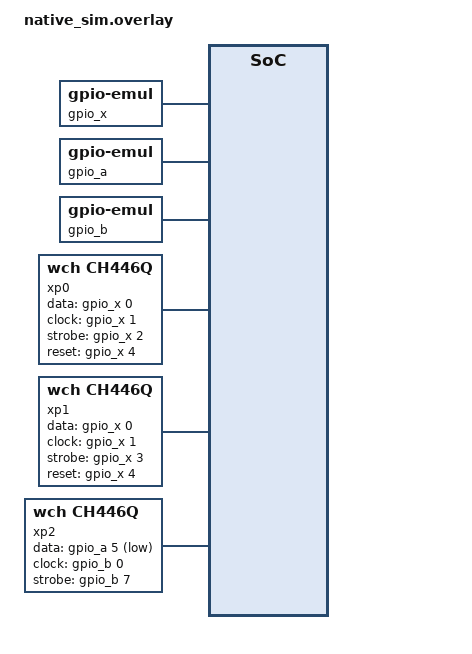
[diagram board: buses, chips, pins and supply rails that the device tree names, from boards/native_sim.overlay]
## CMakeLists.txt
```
# SPDX-FileCopyrightText: Copyright The Zephyr Project Contributors
# SPDX-License-Identifier: Apache-2.0

cmake_minimum_required(VERSION 3.20.0)

find_package(Zephyr REQUIRED HINTS $ENV{ZEPHYR_BASE})
project(ch446q)

target_sources(app PRIVATE src/main.c)
```

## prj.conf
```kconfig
# SPDX-FileCopyrightText: Copyright The Zephyr Project Contributors
# SPDX-License-Identifier: Apache-2.0

CONFIG_ZTEST=y
CONFIG_MUX=y
CONFIG_GPIO=y
CONFIG_GPIO_EMUL=y
```

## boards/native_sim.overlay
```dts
/*
 * SPDX-FileCopyrightText: Copyright The Zephyr Project Contributors
 * SPDX-License-Identifier: Apache-2.0
 *
 * CH446Q fixture on native_sim. xp0 and xp1 share their data, clock and
 * reset lines on one 8-pin emulated GPIO port (as on an I2C GPIO expander),
 * each with its own strobe line. xp2 has its data line on one port, inverted
 * on the way (active low), and its clock and strobe lines on another, with
 * no reset line.
 */

#include <zephyr/dt-bindings/gpio/gpio.h>

/ {
	gpio_x: gpio-x {
		compatible = "zephyr,gpio-emul";
		gpio-controller;
		#gpio-cells = <2>;
		ngpios = <8>;
		rising-edge;
		falling-edge;
		high-level;
		low-level;
	};

	gpio_a: gpio-a {
		compatible = "zephyr,gpio-emul";
		gpio-controller;
		#gpio-cells = <2>;
		ngpios = <8>;
		rising-edge;
		falling-edge;
		high-level;
		low-level;
	};

	gpio_b: gpio-b {
		compatible = "zephyr,gpio-emul";
		gpio-controller;
		#gpio-cells = <2>;
		ngpios = <8>;
		rising-edge;
		falling-edge;
		high-level;
		low-level;
	};

	xp0: crosspoint-0 {
		compatible = "wch,ch446q";
		data-gpios = <&gpio_x 0 GPIO_ACTIVE_HIGH>;
		clock-gpios = <&gpio_x 1 GPIO_ACTIVE_HIGH>;
		strobe-gpios = <&gpio_x 2 GPIO_ACTIVE_HIGH>;
		reset-gpios = <&gpio_x 4 GPIO_ACTIVE_HIGH>;
		#mux-control-cells = <1>;
		#mux-state-cells = <2>;
	};

	xp1: crosspoint-1 {
		compatible = "wch,ch446q";
		data-gpios = <&gpio_x 0 GPIO_ACTIVE_HIGH>;
		clock-gpios = <&gpio_x 1 GPIO_ACTIVE_HIGH>;
		strobe-gpios = <&gpio_x 3 GPIO_ACTIVE_HIGH>;
		reset-gpios = <&gpio_x 4 GPIO_ACTIVE_HIGH>;
		#mux-control-cells = <1>;
		#mux-state-cells = <2>;
	};

	xp2: crosspoint-2 {
		compatible = "wch,ch446q";
		data-gpios = <&gpio_a 5 GPIO_ACTIVE_LOW>;
		clock-gpios = <&gpio_b 0 GPIO_ACTIVE_HIGH>;
		strobe-gpios = <&gpio_b 7 GPIO_ACTIVE_HIGH>;
		#mux-control-cells = <1>;
		#mux-state-cells = <2>;
	};

	mux_consumer: mux-consumer {
		compatible = "vnd,mux-consumer-test";
		mux-controls = <&xp0 15>, <&xp0 7>, <&xp1 15>;
		mux-control-names = "line-a", "line-b", "line-c";
		mux-states = <&xp0 15 0x09>;
	};
};
```

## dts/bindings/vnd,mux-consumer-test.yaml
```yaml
# SPDX-FileCopyrightText: Copyright The Zephyr Project Contributors
# SPDX-License-Identifier: Apache-2.0

description: |
  Consumer fixture for the CH446Q mux backend test. Carries mux-controls
  and mux-states pointing at the CH446Q controllers under test.

compatible: "vnd,mux-consumer-test"

include: [base.yaml, mux-consumer.yaml]
```

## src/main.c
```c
/*
 * SPDX-FileCopyrightText: Copyright The Zephyr Project Contributors
 * SPDX-License-Identifier: Apache-2.0
 *
 * CH446Q mux backend test. Each chip is emulated from the GPIO lines it sees
 * on gpio_emul, as the datasheet describes the serial address mode: address
 * bits shifted on the rising edges of CK, AY2 first, the switch state on DAT
 * latched by the falling edge of STB, RST high opening every switch. The
 * emulation also counts what the datasheet forbids (DAT changing with a
 * clock edge or while STB is high), the port writes and the reset pulses.
 */

#include <string.h>

#include <zephyr/drivers/gpio.h>
#include <zephyr/drivers/gpio/gpio_emul.h>
#include <zephyr/drivers/mux.h>
#include <zephyr/kernel.h>
#include <zephyr/ztest.h>

#define NUM_X 16
#define NUM_Y 8

#define CHIP_LINES(node)                                                                           \
	.data = GPIO_DT_SPEC_GET(node, data_gpios), .clock = GPIO_DT_SPEC_GET(node, clock_gpios),  \
	.strobe = GPIO_DT_SPEC_GET(node, strobe_gpios),                                            \
	.reset = GPIO_DT_SPEC_GET_OR(node, reset_gpios, {0})

/* A chip as its pins see the lines (an inverted line arrives inverted back) */
struct chip {
	struct gpio_dt_spec data, clock, strobe, reset;
	bool data_was, clock_was, strobe_was, reset_was;
	bool data_strobe; /* DAT when STB rose */
	uint8_t shift;
	uint8_t y_mask[NUM_X];
	int faults;
	int resets;
};

static struct chip chips[] = {
	{CHIP_LINES(DT_NODELABEL(xp0))},
	{CHIP_LINES(DT_NODELABEL(xp1))},
	{CHIP_LINES(DT_NODELABEL(xp2))},
};
static struct chip *const xp0_chip = &chips[0];
static struct chip *const xp1_chip = &chips[1];
static struct chip *const xp2_chip = &chips[2];

static const struct device *const xp0 = DEVICE_DT_GET(DT_NODELABEL(xp0));
static const struct device *const xp1 = DEVICE_DT_GET(DT_NODELABEL(xp1));
static const struct device *const xp2 = DEVICE_DT_GET(DT_NODELABEL(xp2));

static const struct device *const ports[] = {
	DEVICE_DT_GET(DT_NODELABEL(gpio_x)),
	DEVICE_DT_GET(DT_NODELABEL(gpio_a)),
	DEVICE_DT_GET(DT_NODELABEL(gpio_b)),
};
static struct gpio_callback cbs[ARRAY_SIZE(ports)];
static int writes[ARRAY_SIZE(ports)];

#define PINS DT_NODELABEL(mux_consumer)
MUX_CONTROL_DT_SPEC_DEFINE_BY_NAME(PINS, line_a);
MUX_CONTROL_DT_SPEC_DEFINE_BY_NAME(PINS, line_b);
MUX_CONTROL_DT_SPEC_DEFINE_BY_NAME(PINS, line_c);
MUX_STATE_DT_SPEC_DEFINE(PINS);

static bool level(const struct gpio_dt_spec *spec)
{
	return (gpio_emul_output_get(spec->port, spec->pin) > 0) !=
	       ((spec->dt_flags & GPIO_ACTIVE_LOW) != 0);
}

static void chip_update(struct chip *c)
{
	bool data = level(&c->data), clock = level(&c->clock), strobe = level(&c->strobe);
	bool reset = c->reset.port != NULL && level(&c->reset);

	if (reset) {
		c->resets += !c->reset_was;
		memset(c->y_mask, 0, sizeof(c->y_mask));
	} else {
		if (clock && !c->clock_was) {
			c->faults += data != c->data_was || c->strobe_was;
			c->shift = ((c->shift << 1) | data) & 0x7F;
		}
		if (strobe && !c->strobe_was) {
			/* DAT set up before STB rises (TDS), not with it */
			c->faults += data != c->data_was;
			c->data_strobe = data;
		} else if (strobe && data != c->data_strobe) {
			c->faults++; /* DAT must hold until STB falls */
		}
		if (!strobe && c->strobe_was) {
			/* Address y * 16 + x */
			WRITE_BIT(c->y_mask[c->shift & 0x0F], c->shift >> 4, c->data_strobe);
		}
	}
	c->data_was = data;
	c->clock_was = clock;
	c->strobe_was = strobe;
	c->reset_was = reset;
}

static void on_write(const struct device *port, struct gpio_callback *cb, gpio_port_pins_t pins)
{
	ARG_UNUSED(cb);
	ARG_UNUSED(pins);

	for (size_t i = 0; i < ARRAY_SIZE(ports); i++) {
		writes[i] += ports[i] == port;
	}
	ARRAY_FOR_EACH_PTR(chips, c) {
		chip_update(c);
	}
}

static void *setup(void)
{
	zassert_true(device_is_ready(xp0) && device_is_ready(xp1) && device_is_ready(xp2));
	for (size_t i = 0; i < ARRAY_SIZE(ports); i++) {
		gpio_init_callback(&cbs[i], on_write, BIT_MASK(8));
		zassert_ok(gpio_add_callback(ports[i], &cbs[i]));
	}
	return NULL;
}

/* X's control line, built at run time */
#define X_CONTROL(name, x)                                                                         \
	const uint32_t name##_cell = (x);                                                          \
	const struct mux_control name = {.cells = &name##_cell, .len = 1}

/* The chip and the driver agree on every X; nothing forbidden was seen */
static void check_chip(const struct device *dev, const struct chip *c)
{
	uint32_t state;

	for (uint8_t x = 0; x < NUM_X; x++) {
		X_CONTROL(ctl, x);

		zassert_ok(mux_state_get(dev, &ctl, &state));
		zassert_equal(state, c->y_mask[x], "%s X%u: driver 0x%02x, chip 0x%02x", dev->name,
			      x, state, c->y_mask[x]);
	}
	zassert_equal(c->faults, 0, "%s: %d timing faults", dev->name, c->faults);
}

ZTEST(ch446q, test_1_set)
{
	const struct mux_control *line_a = MUX_CONTROL_DT_GET_BY_NAME(PINS, line_a);
	X_CONTROL(x4, 4);
	uint32_t state;
	int before;

	/* The datasheet's example: Y2-X4, address 24H */
	zassert_ok(mux_control_set(xp0, &x4, BIT(2)));
	zassert_equal(xp0_chip->y_mask[4], BIT(2));
	zassert_equal(xp1_chip->y_mask[4], 0, "xp1 saw the address but not its strobe");

	/*
	 * One switch more: 17 port writes (gpio_emul reports a port write when it
	 * changes a line; after a switch CK is high, so each of them does)
	 */
	before = writes[0];
	zassert_ok(mux_control_set(xp0, &x4, BIT(2) | BIT(7)));
	zassert_equal(writes[0] - before, 17, "%d port writes for one switch", writes[0] - before);
	zassert_ok(mux_state_get(xp0, &x4, &state));
	zassert_equal(state, BIT(2) | BIT(7));

	/* The same mask again: nothing to write */
	before = writes[0];
	zassert_ok(mux_control_set(xp0, &x4, BIT(2) | BIT(7)));
	zassert_equal(writes[0], before);

	/* By name, from the devicetree: line-a (entry 0) is xp0's X15 */
	zassert_equal_ptr(MUX_CONTROL_DT_DEV_GET_BY_IDX(PINS, 0), xp0);
	zassert_ok(mux_control_set(MUX_CONTROL_DT_DEV_GET_BY_IDX(PINS, 0), line_a, 0x81));
	zassert_equal(xp0_chip->y_mask[15], 0x81);
	check_chip(xp0, xp0_chip);
	check_chip(xp1, xp1_chip);
}

ZTEST(ch446q, test_2_disconnect)
{
	const struct mux_control *line_b = MUX_CONTROL_DT_GET_BY_NAME(PINS, line_b);
	const struct mux_control *line_c = MUX_CONTROL_DT_GET_BY_NAME(PINS, line_c);
	int resets = xp0_chip->resets;
	int before;

	zassert_ok(mux_control_set(xp0, line_b, 0xFF));
	zassert_ok(mux_control_set(xp1, line_c, 0x3C));

	/* X7 of xp0 opens, switch by switch; xp1 keeps its switches, RST never moves */
	before = writes[0];
	zassert_ok(mux_control_disconnect(xp0, line_b));
	zassert_equal(writes[0] - before, 8 * 17);
	zassert_equal(xp0_chip->y_mask[7], 0);
	zassert_equal(xp1_chip->y_mask[15], 0x3C);
	zassert_equal(xp0_chip->resets, resets, "disconnect must not pulse the shared reset");
	check_chip(xp0, xp0_chip);
	check_chip(xp1, xp1_chip);
}

ZTEST(ch446q, test_3_every_switch)
{
	for (uint8_t x = 0; x < NUM_X; x++) {
		X_CONTROL(ctl, x);

		zassert_ok(mux_control_set(xp1, &ctl, 0xFF));
	}
	for (uint8_t x = 0; x < NUM_X; x++) {
		zassert_equal(xp1_chip->y_mask[x], 0xFF, "X%u: 0x%02x", x, xp1_chip->y_mask[x]);
	}
	/* A different mask on each X: every address and data bit both ways */
	for (uint8_t x = 0; x < NUM_X; x++) {
		X_CONTROL(ctl, x);

		zassert_ok(mux_control_set(xp1, &ctl, (x * 37 + 11) & 0xFF));
	}
	check_chip(xp1, xp1_chip);
}

ZTEST(ch446q, test_4_state_from_devicetree)
{
	const struct mux_state *st = MUX_STATE_DT_GET(PINS);

	zassert_equal(st->state, 0x09);
	zassert_ok(mux_state_apply(MUX_STATE_DT_DEV_GET(PINS), st));
	zassert_equal(xp0_chip->y_mask[15], 0x09);
	check_chip(xp0, xp0_chip);
}

ZTEST(ch446q, test_5_lines_apart)
{
	X_CONTROL(x15, 15);
	X_CONTROL(x0, 0);
	int before_a = writes[1], before_b = writes[2];

	/* The data line on one port, inverted on the way; clock and strobe on another */
	zassert_ok(mux_control_set(xp2, &x15, BIT(7)));
	zassert_equal(xp2_chip->y_mask[15], BIT(7));
	zassert_equal(writes[1] - before_a, 8, "DAT: 7 address bits and the state");
	zassert_equal(writes[2] - before_b, 16, "CK: 14 writes, STB: 2");
	zassert_ok(mux_control_set(xp2, &x0, 0x55));
	check_chip(xp2, xp2_chip);

	zassert_ok(mux_control_disconnect(xp2, &x0));
	zassert_equal(xp2_chip->y_mask[0], 0);
	check_chip(xp2, xp2_chip);
}

ZTEST(ch446q, test_6_errors)
{
	X_CONTROL(x16, 16);
	X_CONTROL(x1, 1);
	const uint32_t two[] = {1, 2};
	const struct mux_control wide = {.cells = two, .len = 2};
	uint32_t state;

	zassert_equal(mux_control_set(xp0, &x16, 1), -EINVAL);
	zassert_equal(mux_control_set(xp0, &x1, 0x100), -EINVAL);
	zassert_equal(mux_control_set(xp0, &wide, 1), -EINVAL);
	zassert_equal(mux_state_get(xp0, &x16, &state), -EINVAL);
	zassert_equal(mux_control_disconnect(xp0, &wide), -EINVAL);
	check_chip(xp0, xp0_chip);
}

ZTEST_SUITE(ch446q, NULL, setup, NULL, NULL, NULL);
```
